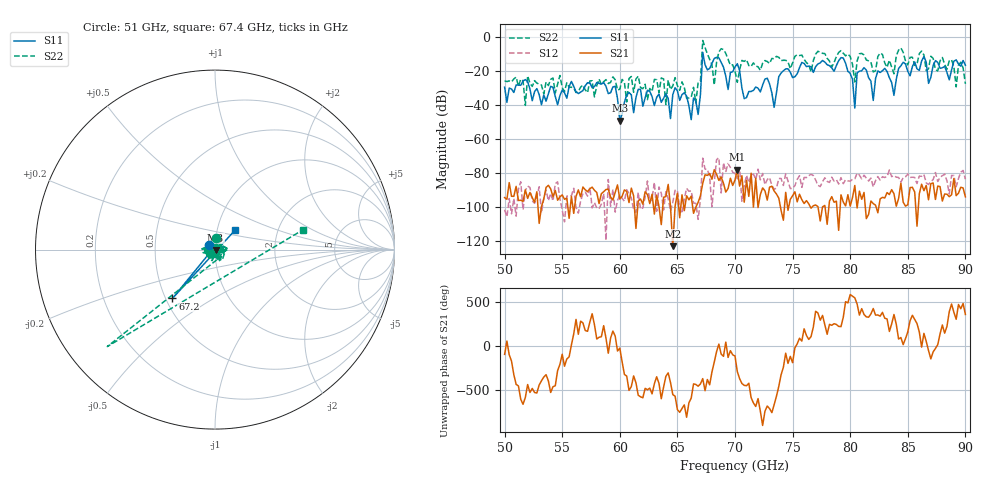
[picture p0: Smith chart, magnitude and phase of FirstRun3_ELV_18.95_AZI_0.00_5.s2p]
! 11/24/2026 3:29:40 PM
! C:\ANRITSUVNA\TEMP\TEMP.S2P
! CHANNEL.1
! TR.MEASUREMENT
! RAW.DATA
# HZ S RI R 50.0
! FREQ.HZ  S11RE  S11IM  S21RE  S21IM  S12RE  S12IM  S22RE  S22IM
!; PortSelection: Port_12
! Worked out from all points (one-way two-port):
!   201 points, 50 GHz to 90 GHz, reference 50 ohm
!   highest |S21| = -77.76 dB at 70.2 GHz (marker M1); lowest = -122.8 dB at 64.6 GHz (marker M2)
!   lowest |S11| = -49.0 dB at 60 GHz (marker M3), VSWR 1.01, Z = 50.3 - j0.159 ohm
!   |S11| at or under -10 dB: start of sweep to 67.19 GHz; 67.23 GHz to end of sweep
!   |S22| runs from -40.0 to -1.9 dB; largest |S21 - S12| = 0.00032
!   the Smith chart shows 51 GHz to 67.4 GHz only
!   S11 on the Smith chart (normalised r, x): 51 GHz: 0.94, +0.05; 67.2 GHz: 0.54, -0.34; 67.4 GHz: 1.22, +0.27
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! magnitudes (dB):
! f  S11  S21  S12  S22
! 50 GHz  -29.3  -94.2  -101.4  -25.6
! 51 GHz  -28.0  -87.6  -105.1  -23.4
! 56.8 GHz  -31.4  -88.0  -91.8  -28.0
! 59.6 GHz  -28.8  -91.1  -102.7  -25.0
! 60 GHz  -49.0  -95.1  -92.6  -30.5
! 63.4 GHz  -33.4  -99.3  -87.9  -32.6
! 64.6 GHz  -33.7  -122.8  -97.0  -28.5
! 66.8 GHz  -45.3  -97.0  -107.0  -26.4
! 67.2 GHz  -8.8  -85.8  -71.0  -1.9
! 67.4 GHz  -16.1  -80.8  -77.5  -5.9
! 68.2 GHz  -12.4  -77.8  -85.2  -28.0
! 68.8 GHz  -14.7  -82.1  -91.5  -6.7
! 70 GHz  -17.4  -83.9  -80.1  -19.9
! 70.2 GHz  -15.5  -77.8  -83.2  -26.5
! 73.4 GHz  -41.2  -90.4  -89.3  -12.6
! 74.2 GHz  -19.7  -107.5  -87.1  -13.5
! 76.8 GHz  -20.6  -99.0  -81.2  -13.6
! 79.4 GHz  -12.2  -96.8  -86.0  -9.4
! 80.4 GHz  -41.6  -87.1  -83.2  -26.3
! 80.6 GHz  -21.0  -100.3  -79.9  -14.0
! 83.4 GHz  -23.7  -92.4  -78.0  -13.5
! 90 GHz  -16.4  -93.8  -83.4  -27.3
